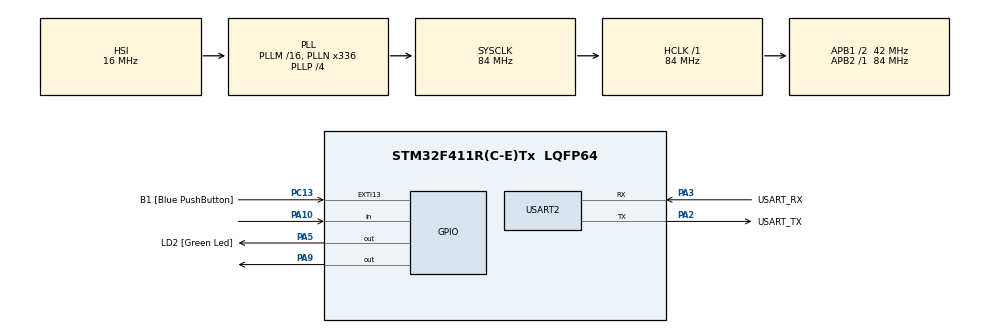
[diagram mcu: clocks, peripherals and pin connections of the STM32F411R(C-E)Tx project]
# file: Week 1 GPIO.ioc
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Mcu.Family=STM32F4
Mcu.Name=STM32F411R(C-E)Tx
Mcu.Package=LQFP64
NVIC.PriorityGroup=NVIC_PRIORITYGROUP_0
PA10.Signal=GPIO_Input
PA13.GPIO_Label=TMS
PA13.Mode=Serial_Wire
PA13.Signal=SYS_JTMS-SWDIO
PA14.GPIO_Label=TCK
PA14.Mode=Serial_Wire
PA14.Signal=SYS_JTCK-SWCLK
PA2.GPIO_Label=USART_TX
PA2.Mode=Asynchronous
PA2.Signal=USART2_TX
PA3.GPIO_Label=USART_RX
PA3.Mode=Asynchronous
PA3.Signal=USART2_RX
PA5.GPIO_Label=LD2 [Green Led]
PA5.Signal=GPIO_Output
PA9.Signal=GPIO_Output
PB3.GPIO_Label=SWO
PB3.Signal=SYS_JTDO-SWO
PC13-ANTI_TAMP.GPIO_Label=B1 [Blue PushButton]
PC13-ANTI_TAMP.GPIO_ModeDefaultEXTI=GPIO_MODE_IT_FALLING
PC13-ANTI_TAMP.Signal=GPXTI13
PC14-OSC32_IN.Mode=LSE-External-Oscillator
PC14-OSC32_IN.Signal=RCC_OSC32_IN
PC15-OSC32_OUT.Mode=LSE-External-Oscillator
PC15-OSC32_OUT.Signal=RCC_OSC32_OUT
PH0\ -\ OSC_IN.Mode=HSE-External-Clock-Source
PH0\ -\ OSC_IN.Signal=RCC_OSC_IN
PH1\ -\ OSC_OUT.Mode=HSE-External-Clock-Source
PH1\ -\ OSC_OUT.Signal=RCC_OSC_OUT
ProjectManager.HeapSize=0x200
ProjectManager.StackSize=0x400
ProjectManager.TargetToolchain=STM32CubeIDE
RCC.48MHZClocksFreq_Value=84000000
RCC.AHBFreq_Value=84000000
RCC.APB1CLKDivider=RCC_HCLK_DIV2
RCC.APB1Freq_Value=42000000
RCC.APB1TimFreq_Value=84000000
RCC.APB2Freq_Value=84000000
RCC.APB2TimFreq_Value=84000000
RCC.CortexFreq_Value=84000000
RCC.FLatency-AdvancedSettings=FLASH_LATENCY_2
RCC.HCLKFreq_Value=84000000
RCC.HSE_VALUE=8000000
RCC.HSI_VALUE=16000000
RCC.PLLN=336
RCC.PLLP=RCC_PLLP_DIV4
RCC.SYSCLKFreq_VALUE=84000000
RCC.SYSCLKSource=RCC_SYSCLKSOURCE_PLLCLK
RCC.VCOOutputFreq_Value=336000000
USART2.VirtualMode=VM_ASYNC
board=NUCLEO-F411RE

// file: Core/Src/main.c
/* USER CODE BEGIN Header */
/**
  ******************************************************************************
  * @file           : main.c
  * @brief          : Main program body
  ******************************************************************************
  * @attention
  *
  * <h2><center>&copy; Copyright (c) 2021 STMicroelectronics.
  * All rights reserved.</center></h2>
  *
  * This software component is licensed by ST under BSD 3-Clause license,
  * the "License"; You may not use this file except in compliance with the
  * License. You may obtain a copy of the License at:
  *                        opensource.org/licenses/BSD-3-Clause
  *
  ******************************************************************************
  */
/* USER CODE END Header */
#include "main.h"

UART_HandleTypeDef huart2;

void SystemClock_Config(void);
static void MX_GPIO_Init(void);
static void MX_USART2_UART_Init(void);

int main(void)
{

  /* MCU Configuration--------------------------------------------------------*/

  /* Reset of all peripherals, Initializes the Flash interface and the Systick. */
  HAL_Init();

  /* Configure the system clock */
  SystemClock_Config();

  /* Initialize all configured peripherals */
  MX_GPIO_Init();
  MX_USART2_UART_Init();
  /* USER CODE BEGIN 2 */
  GPIO_PinState SwitchState[2]; 	// 2 states => present,last
  uint16_t LED1HalfPeriod = 500;		// 1 Hz
  uint32_t TimeStamp = 0;
  uint32_t ButtonTimeStamp = 0;
  /* USER CODE END 2 */

  /* Infinite loop */
  while (1)
  {

    /* USER CODE BEGIN 3 */
	  //default switch state is high==set, pressed switch state is low==reset
	 if(HAL_GetTick() - ButtonTimeStamp >= 100)	//millisecond
	 {
		 ButtonTimeStamp = HAL_GetTick();

	  SwitchState[0] = HAL_GPIO_ReadPin(GPIOA, GPIO_PIN_10);
	  if(SwitchState[1] == GPIO_PIN_SET && SwitchState[0] == GPIO_PIN_RESET) // if last state is high, present state is low => falling edge
	  {
		  // Change Half Period of LED 1
		  if(LED1HalfPeriod == 500)
		  {
			  LED1HalfPeriod = 250;
		  }
		  else
		  {
			  LED1HalfPeriod = 500;
		  }
	  }
	  SwitchState[1] = SwitchState[0];
	 }
	  //Run LED
	  if(HAL_GetTick() - TimeStamp >= LED1HalfPeriod)
	  {
		  TimeStamp = HAL_GetTick();
		  //Toggle LED1
		  if(HAL_GPIO_ReadPin(GPIOA, GPIO_PIN_9) == GPIO_PIN_SET)
		  {
			  HAL_GPIO_WritePin(GPIOA, GPIO_PIN_9, GPIO_PIN_RESET);
		  }
		  else
		  {
			  HAL_GPIO_WritePin(GPIOA, GPIO_PIN_9, GPIO_PIN_SET);
		  }
	  }
  }
  /* USER CODE END 3 */
}

void SystemClock_Config(void)
{
  RCC_OscInitTypeDef RCC_OscInitStruct = {0};
  RCC_ClkInitTypeDef RCC_ClkInitStruct = {0};

  /** Configure the main internal regulator output voltage
  */
  __HAL_RCC_PWR_CLK_ENABLE();
  __HAL_PWR_VOLTAGESCALING_CONFIG(PWR_REGULATOR_VOLTAGE_SCALE1);
  /** Initializes the RCC Oscillators according to the specified parameters
  * in the RCC_OscInitTypeDef structure.
  */
  RCC_OscInitStruct.OscillatorType = RCC_OSCILLATORTYPE_HSI;
  RCC_OscInitStruct.HSIState = RCC_HSI_ON;
  RCC_OscInitStruct.HSICalibrationValue = RCC_HSICALIBRATION_DEFAULT;
  RCC_OscInitStruct.PLL.PLLState = RCC_PLL_ON;
  RCC_OscInitStruct.PLL.PLLSource = RCC_PLLSOURCE_HSI;
  RCC_OscInitStruct.PLL.PLLM = 16;
  RCC_OscInitStruct.PLL.PLLN = 336;
  RCC_OscInitStruct.PLL.PLLP = RCC_PLLP_DIV4;
  RCC_OscInitStruct.PLL.PLLQ = 4;
  if (HAL_RCC_OscConfig(&RCC_OscInitStruct) != HAL_OK)
  {
    Error_Handler();
  }
  /** Initializes the CPU, AHB and APB buses clocks
  */
  RCC_ClkInitStruct.ClockType = RCC_CLOCKTYPE_HCLK|RCC_CLOCKTYPE_SYSCLK
                              |RCC_CLOCKTYPE_PCLK1|RCC_CLOCKTYPE_PCLK2;
  RCC_ClkInitStruct.SYSCLKSource = RCC_SYSCLKSOURCE_PLLCLK;
  RCC_ClkInitStruct.AHBCLKDivider = RCC_SYSCLK_DIV1;
  RCC_ClkInitStruct.APB1CLKDivider = RCC_HCLK_DIV2;
  RCC_ClkInitStruct.APB2CLKDivider = RCC_HCLK_DIV1;

  if (HAL_RCC_ClockConfig(&RCC_ClkInitStruct, FLASH_LATENCY_2) != HAL_OK)
  {
    Error_Handler();
  }
}

static void MX_USART2_UART_Init(void)
{

  huart2.Instance = USART2;
  huart2.Init.BaudRate = 115200;
  huart2.Init.WordLength = UART_WORDLENGTH_8B;
  huart2.Init.StopBits = UART_STOPBITS_1;
  huart2.Init.Parity = UART_PARITY_NONE;
  huart2.Init.Mode = UART_MODE_TX_RX;
  huart2.Init.HwFlowCtl = UART_HWCONTROL_NONE;
  huart2.Init.OverSampling = UART_OVERSAMPLING_16;
  if (HAL_UART_Init(&huart2) != HAL_OK)
  {
    Error_Handler();
  }

}

static void MX_GPIO_Init(void)
{
  GPIO_InitTypeDef GPIO_InitStruct = {0};

  /* GPIO Ports Clock Enable */
  __HAL_RCC_GPIOC_CLK_ENABLE();
  __HAL_RCC_GPIOH_CLK_ENABLE();
  __HAL_RCC_GPIOA_CLK_ENABLE();
  __HAL_RCC_GPIOB_CLK_ENABLE();

  /*Configure GPIO pin Output Level */
  HAL_GPIO_WritePin(GPIOA, LD2_Pin|GPIO_PIN_9, GPIO_PIN_RESET);

  /*Configure GPIO pin : B1_Pin */
  GPIO_InitStruct.Pin = B1_Pin;
  GPIO_InitStruct.Mode = GPIO_MODE_IT_FALLING;
  GPIO_InitStruct.Pull = GPIO_NOPULL;
  HAL_GPIO_Init(B1_GPIO_Port, &GPIO_InitStruct);

  /*Configure GPIO pins : LD2_Pin PA9 */
  GPIO_InitStruct.Pin = LD2_Pin|GPIO_PIN_9;
  GPIO_InitStruct.Mode = GPIO_MODE_OUTPUT_PP;
  GPIO_InitStruct.Pull = GPIO_NOPULL;
  GPIO_InitStruct.Speed = GPIO_SPEED_FREQ_LOW;
  HAL_GPIO_Init(GPIOA, &GPIO_InitStruct);

  /*Configure GPIO pin : PA10 */
  GPIO_InitStruct.Pin = GPIO_PIN_10;
  GPIO_InitStruct.Mode = GPIO_MODE_INPUT;
  GPIO_InitStruct.Pull = GPIO_NOPULL;
  HAL_GPIO_Init(GPIOA, &GPIO_InitStruct);

}

void Error_Handler(void)
{
  __disable_irq();
  while (1)
  {
  }
}

/************************ (C) COPYRIGHT STMicroelectronics *****END OF FILE****/
